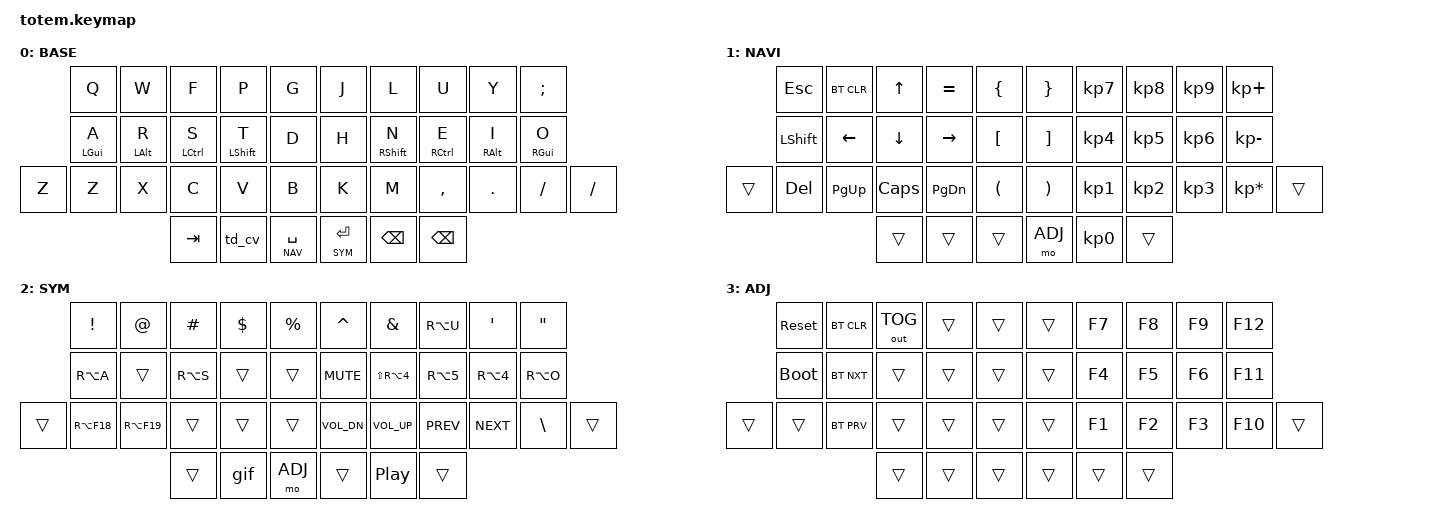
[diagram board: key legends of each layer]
#include <behaviors.dtsi>
#include <dt-bindings/zmk/keys.h>
#include <dt-bindings/zmk/bt.h>
#include <dt-bindings/zmk/outputs.h>

#define BASE 0
#define NAV  1
#define SYM  2
#define ADJ  3

&mt {
  quick-tap-ms = <100>;
  global-quick-tap;
  flavor = "tap-preferred";
  tapping-term-ms = <170>;
};

/ {
    macros {
        // CMD+A dann CMD+C
        select_all_copy: select_all_copy {
            compatible = "zmk,behavior-macro";
            #binding-cells = <0>;
            wait-ms = <10>;
            tap-ms = <10>;
            bindings = <&kp LG(A)>, <&kp LG(C)>;
        };

        gif: gif {
            label = "giphy";
            compatible = "zmk,behavior-macro";
            #binding-cells = <0>;
            bindings
                = <&macro_press &kp LSHFT>
                , <&macro_tap &kp N2>
                , <&macro_release &kp LSHFT>
                , <&macro_tap &kp G &kp I &kp F>
                ;
        };

        umlaut_ae_lower: umlaut_ae_lower {
            compatible = "zmk,behavior-macro";
            #binding-cells = <0>;
            wait-ms = <0>;
            tap-ms = <1>;
            bindings
                = <&macro_press &kp LALT>
                , <&macro_tap &kp N0 &kp N0 &kp E &kp N4>
                , <&macro_release &kp LALT>
                ;
        };

        umlaut_ae_upper: umlaut_ae_upper {
            compatible = "zmk,behavior-macro";
            #binding-cells = <0>;
            wait-ms = <0>;
            tap-ms = <1>;
            bindings
                = <&macro_press &kp LALT>
                , <&macro_tap &kp N0 &kp N0 &kp C &kp N4>
                , <&macro_release &kp LALT>
                ;
        };

        umlaut_oe_lower: umlaut_oe_lower {
            compatible = "zmk,behavior-macro";
            #binding-cells = <0>;
            wait-ms = <0>;
            tap-ms = <1>;
            bindings
                = <&macro_press &kp LALT>
                , <&macro_tap &kp N0 &kp N0 &kp F &kp N6>
                , <&macro_release &kp LALT>
                ;
        };

        umlaut_oe_upper: umlaut_oe_upper {
            compatible = "zmk,behavior-macro";
            #binding-cells = <0>;
            wait-ms = <0>;
            tap-ms = <1>;
            bindings
                = <&macro_press &kp LALT>
                , <&macro_tap &kp N0 &kp N0 &kp D &kp N6>
                , <&macro_release &kp LALT>
                ;
        };

        umlaut_ue_lower: umlaut_ue_lower {
            compatible = "zmk,behavior-macro";
            #binding-cells = <0>;
            wait-ms = <0>;
            tap-ms = <1>;
            bindings
                = <&macro_press &kp LALT>
                , <&macro_tap &kp N0 &kp N0 &kp F &kp C>
                , <&macro_release &kp LALT>
                ;
        };

        umlaut_ue_upper: umlaut_ue_upper {
            compatible = "zmk,behavior-macro";
            #binding-cells = <0>;
            wait-ms = <0>;
            tap-ms = <1>;
            bindings
                = <&macro_press &kp LALT>
                , <&macro_tap &kp N0 &kp N0 &kp D &kp C>
                , <&macro_release &kp LALT>
                ;
        };

        umlaut_sz: umlaut_sz {
            compatible = "zmk,behavior-macro";
            #binding-cells = <0>;
            wait-ms = <0>;
            tap-ms = <1>;
            bindings
                = <&macro_press &kp LALT>
                , <&macro_tap &kp N0 &kp N0 &kp D &kp F>
                , <&macro_release &kp LALT>
                ;
        };
    };

    behaviors {
        // NEU: 1x = CMD+C, 2x = CMD+V, 3x = CMD+A dann CMD+C
        td_cv: tap_dance_copy_paste_select {
            compatible = "zmk,behavior-tap-dance";
            #binding-cells = <0>;
            tapping-term-ms = <200>;
            bindings = <&kp LG(C)>, <&kp LG(V)>, <&select_all_copy>;
        };

        ae_morph: ae_morph {
            compatible = "zmk,behavior-mod-morph";
            #binding-cells = <0>;
            bindings = <&umlaut_ae_lower>, <&umlaut_ae_upper>;
            mods = <(MOD_LSFT|MOD_RSFT)>;
        };

        oe_morph: oe_morph {
            compatible = "zmk,behavior-mod-morph";
            #binding-cells = <0>;
            bindings = <&umlaut_oe_lower>, <&umlaut_oe_upper>;
            mods = <(MOD_LSFT|MOD_RSFT)>;
        };

        ue_morph: ue_morph {
            compatible = "zmk,behavior-mod-morph";
            #binding-cells = <0>;
            bindings = <&umlaut_ue_lower>, <&umlaut_ue_upper>;
            mods = <(MOD_LSFT|MOD_RSFT)>;
        };

        comma_semi: comma_semi {
            compatible = "zmk,behavior-mod-morph";
            #binding-cells = <0>;
            bindings = <&kp COMMA>, <&kp SEMI>;
            mods = <(MOD_LSFT|MOD_RSFT)>;
        };

        dot_colon: dot_colon {
            compatible = "zmk,behavior-mod-morph";
            #binding-cells = <0>;
            bindings = <&kp DOT>, <&kp COLON>;
            mods = <(MOD_LSFT|MOD_RSFT)>;
        };

        minus_under: minus_under {
            compatible = "zmk,behavior-mod-morph";
            #binding-cells = <0>;
            bindings = <&kp MINUS>, <&kp UNDER>;
            mods = <(MOD_LSFT|MOD_RSFT)>;
        };
    };

    combos {
        compatible = "zmk,combos";

        combo_esc {
            timeout-ms = <50>;
            key-positions = <0 1>;
            bindings = <&kp ESC>;
        };

        combo_ae {
            timeout-ms = <50>;
            key-positions = <10 11>;
            bindings = <&ae_morph>;
        };

        combo_sz {
            timeout-ms = <50>;
            key-positions = <11 12>;
            bindings = <&umlaut_sz>;
        };

        combo_ue {
            timeout-ms = <50>;
            key-positions = <6 7>;
            bindings = <&ue_morph>;
        };

        combo_oe {
            timeout-ms = <50>;
            key-positions = <7 8>;
            bindings = <&oe_morph>;
        };
    };

    keymap {
        compatible = "zmk,keymap";

        base_layer {
            label = "BASE";
            bindings = <
                &kp Q       &kp W       &kp F       &kp P       &kp G           &kp J       &kp L       &kp U       &kp Y       &kp SEMI
                &mt LGUI A  &mt LALT R  &mt LCTRL S &mt LSHFT T &kp D           &kp H       &mt RSHFT N &mt RCTRL E &mt RALT I  &mt RGUI O
    &kp Z       &kp Z       &kp X       &kp C       &kp V       &kp B           &kp K       &kp M       &kp COMMA   &kp DOT     &kp FSLH    &kp FSLH
                                        &kp TAB     &td_cv      &lt NAV SPACE   &lt SYM RET &kp BSPC    &kp BSPC
            >;
        };

        nav_layer {
            label = "NAVI";
            bindings = <
                &kp ESC     &bt BT_CLR  &kp UP      &kp EQUAL   &kp LBRC        &kp RBRC    &kp KP_N7   &kp KP_N8   &kp KP_N9   &kp KP_PLUS
                &kp LSHFT   &kp LEFT    &kp DOWN    &kp RIGHT   &kp LBKT        &kp RBKT    &kp KP_N4   &kp KP_N5   &kp KP_N6   &kp KP_MINUS
    &trans      &kp DEL     &kp PG_UP   &kp CAPS    &kp PG_DN   &kp LPAR        &kp RPAR    &kp KP_N1   &kp KP_N2   &kp KP_N3   &kp KP_MULTIPLY &trans
                                        &trans      &trans      &trans          &mo ADJ     &kp KP_N0   &trans
            >;
        };

        sim_layer {
            label = "SYM";
            bindings = <
                &kp EXCL    &kp AT      &kp HASH    &kp DLLR    &kp PRCNT       &kp CARET   &kp AMPS    &kp RA(U)   &kp SQT     &kp DQT
                &kp RA(A)   &trans      &kp RA(S)   &trans      &trans          &kp C_MUTE  &kp LS(RA(N4)) &kp RA(N5) &kp RA(N4) &kp RA(O)
    &trans      &kp RA(F18) &kp RA(F19) &trans      &trans      &trans          &kp C_VOL_DN &kp C_VOL_UP &kp C_PREV &kp C_NEXT &kp BSLH   &trans
                                        &trans      &gif        &mo ADJ         &trans      &kp C_PP    &trans
            >;
        };

        adjust_layer {
            label = "ADJ";
            bindings = <
                &sys_reset  &bt BT_CLR  &out OUT_TOG &trans      &trans          &trans      &kp F7      &kp F8      &kp F9      &kp F12
                &bootloader &bt BT_NXT  &trans      &trans      &trans          &trans      &kp F4      &kp F5      &kp F6      &kp F11
    &trans      &trans      &bt BT_PRV  &trans      &trans      &trans          &trans      &kp F1      &kp F2      &kp F3      &kp F10     &trans
                                        &trans      &trans      &trans          &trans      &trans      &trans
            >;
        };
    };
};
